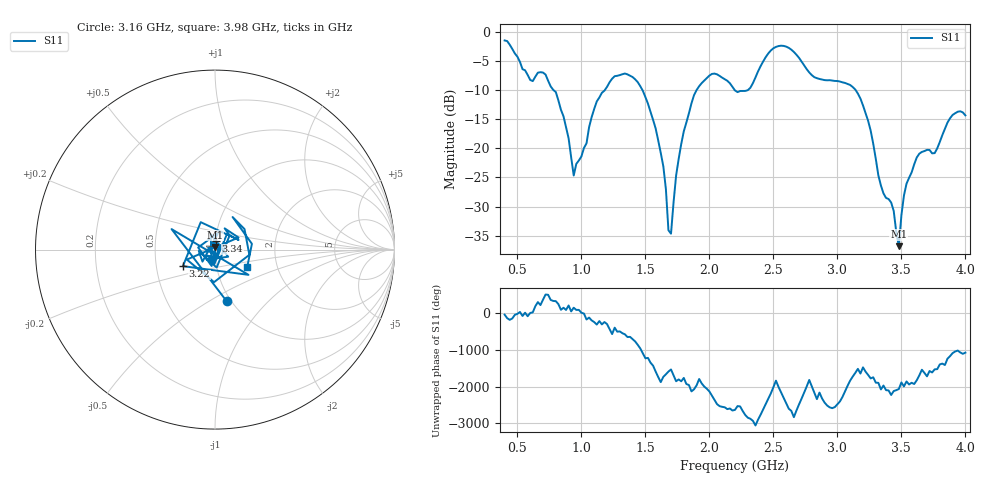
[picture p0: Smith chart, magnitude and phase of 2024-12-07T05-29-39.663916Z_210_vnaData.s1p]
!Created with skrf (http://scikit-rf.org).
# Hz S RI R 50.0
!freq ReS11 ImS11
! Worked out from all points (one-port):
!   181 points, 400 MHz to 4 GHz, reference 50 ohm
!   lowest |S11| = -36.8 dB at 3.48 GHz (marker M1), VSWR 1.03, Z = 49.9 + j1.44 ohm
!   |S11| at or under -10 dB: 782.5 MHz to 1.183 GHz (400.1 MHz wide, 40.7 % of centre); 1.477 GHz to 1.9 GHz (422.5 MHz wide, 25 % of centre); 3.143 GHz to end of sweep (the widest 3 of 4)
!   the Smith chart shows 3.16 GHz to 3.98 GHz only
!   S11 on the Smith chart (normalised r, x): 3.16 GHz: 0.95, -0.60; 3.22 GHz: 0.69, -0.13; 3.34 GHz: 1.01, +0.10; 3.98 GHz: 1.41, -0.28
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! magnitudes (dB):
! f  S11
! 400 MHz  -1.5
! 600 MHz  -8.2
! 720 MHz  -7.3
! 860 MHz  -14.5
! 940 MHz  -24.7
! 1.12 GHz  -11.9
! 1.3 GHz  -7.4
! 1.44 GHz  -8.6
! 1.56 GHz  -15.1
! 1.64 GHz  -23.1
! 1.68 GHz  -34.1
! 1.7 GHz  -34.7
! 1.76 GHz  -21.8
! 1.94 GHz  -8.8
! 2.2 GHz  -10.1
! 2.32 GHz  -9.6
! 2.5 GHz  -2.8
! 2.66 GHz  -3.4
! 3.1 GHz  -9.1
! 3.16 GHz  -10.6
! 3.22 GHz  -13.9
! 3.34 GHz  -26.4
! 3.44 GHz  -30.8
! 3.48 GHz  -36.8
! 3.52 GHz  -28.1
! 3.56 GHz  -25.1
! 3.98 GHz  -13.8
! 4 GHz  -14.3
